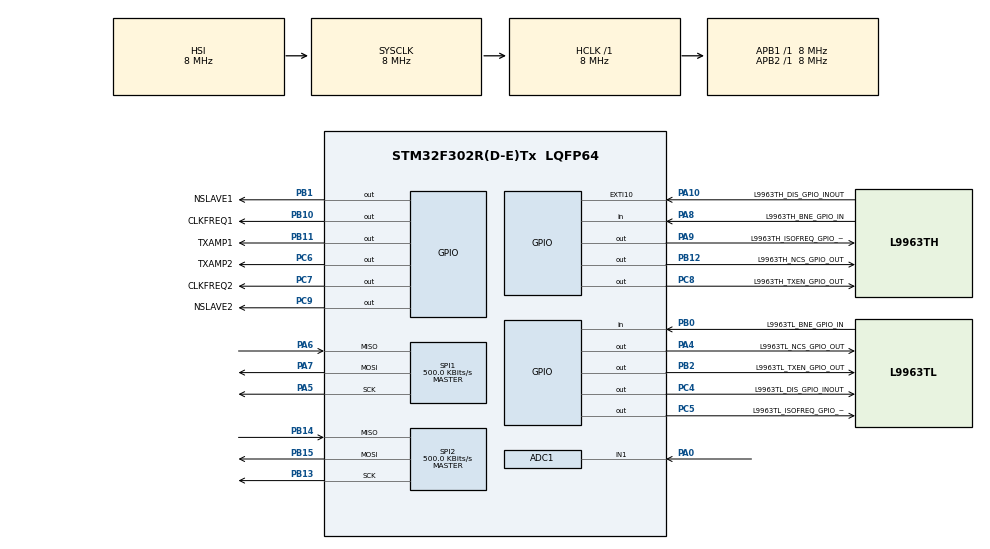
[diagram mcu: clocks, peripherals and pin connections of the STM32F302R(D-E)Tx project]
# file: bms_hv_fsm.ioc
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ADC1.Channel-0\#ChannelRegularConversion=ADC_CHANNEL_1
ADC1.NbrOfConversionFlag=1
ADC1.Offset-0\#ChannelRegularConversion=0
ADC1.OffsetNumber-0\#ChannelRegularConversion=ADC_OFFSET_NONE
ADC1.Rank-0\#ChannelRegularConversion=1
ADC1.SamplingTime-0\#ChannelRegularConversion=ADC_SAMPLETIME_1CYCLE_5
ADC1.SamplingTimeOPAMP-0\#ChannelRegularConversion=ADC_SAMPLETIME_4CYCLES_5
ADC1.master=1
Mcu.Family=STM32F3
Mcu.Name=STM32F302R(D-E)Tx
Mcu.Package=LQFP64
NVIC.PriorityGroup=NVIC_PRIORITYGROUP_4
PA0.Mode=IN1-Single-Ended
PA0.Signal=ADC1_IN1
PA10.GPIO_Label=L9963TH_DIS_GPIO_INOUT
PA10.Signal=GPXTI10
PA13.Mode=Serial_Wire
PA13.Signal=SYS_JTMS-SWDIO
PA14.Mode=Serial_Wire
PA14.Signal=SYS_JTCK-SWCLK
PA4.GPIO_Label=L9963TL_NCS_GPIO_OUT
PA4.Signal=GPIO_Output
PA5.Mode=Full_Duplex_Master
PA5.Signal=SPI1_SCK
PA6.Mode=Full_Duplex_Master
PA6.Signal=SPI1_MISO
PA7.Mode=Full_Duplex_Master
PA7.Signal=SPI1_MOSI
PA8.GPIO_Label=L9963TH_BNE_GPIO_IN
PA8.Signal=GPIO_Input
PA9.GPIO_Label=L9963TH_ISOFREQ_GPIO_OUT
PA9.Signal=GPIO_Output
PB0.GPIO_Label=L9963TL_BNE_GPIO_IN
PB0.Signal=GPIO_Input
PB1.GPIO_Label=NSLAVE1
PB1.Signal=GPIO_Output
PB10.GPIO_Label=CLKFREQ1
PB10.Signal=GPIO_Output
PB11.GPIO_Label=TXAMP1
PB11.Signal=GPIO_Output
PB12.GPIO_Label=L9963TH_NCS_GPIO_OUT
PB12.Signal=GPIO_Output
PB13.Mode=Full_Duplex_Master
PB13.Signal=SPI2_SCK
PB14.Mode=Full_Duplex_Master
PB14.Signal=SPI2_MISO
PB15.Mode=Full_Duplex_Master
PB15.Signal=SPI2_MOSI
PB2.GPIO_Label=L9963TL_TXEN_GPIO_OUT
PB2.Signal=GPIO_Output
PC4.GPIO_Label=L9963TL_DIS_GPIO_INOUT
PC4.Signal=GPIO_Output
PC5.GPIO_Label=L9963TL_ISOFREQ_GPIO_OUT
PC5.Signal=GPIO_Output
PC6.GPIO_Label=TXAMP2
PC6.Signal=GPIO_Output
PC7.GPIO_Label=CLKFREQ2
PC7.Signal=GPIO_Output
PC8.GPIO_Label=L9963TH_TXEN_GPIO_OUT
PC8.Signal=GPIO_Output
PC9.GPIO_Label=NSLAVE2
PC9.Signal=GPIO_Output
PF0-OSC_IN.Mode=HSE-External-Oscillator
PF0-OSC_IN.Signal=RCC_OSC_IN
PF1-OSC_OUT.Mode=HSE-External-Oscillator
PF1-OSC_OUT.Signal=RCC_OSC_OUT
ProjectManager.HeapSize=0x200
ProjectManager.StackSize=0x400
ProjectManager.TargetToolchain=STM32CubeIDE
RCC.AHBFreq_Value=8000000
RCC.APB1Freq_Value=8000000
RCC.APB2Freq_Value=8000000
RCC.CortexFreq_Value=8000000
RCC.HSE_VALUE=8000000
RCC.HSI_VALUE=8000000
RCC.LSE_VALUE=32768
RCC.PLLMUL=RCC_PLL_MUL4
RCC.SYSCLKFreq_VALUE=8000000
RCC.USBFreq_Value=16000000
SPI1.BaudRatePrescaler=SPI_BAUDRATEPRESCALER_16
SPI1.CalculateBaudRate=500.0 KBits/s
SPI1.DataSize=SPI_DATASIZE_8BIT
SPI1.Direction=SPI_DIRECTION_2LINES
SPI1.Mode=SPI_MODE_MASTER
SPI1.VirtualType=VM_MASTER
SPI2.BaudRatePrescaler=SPI_BAUDRATEPRESCALER_16
SPI2.CalculateBaudRate=500.0 KBits/s
SPI2.DataSize=SPI_DATASIZE_8BIT
SPI2.Direction=SPI_DIRECTION_2LINES
SPI2.Mode=SPI_MODE_MASTER
SPI2.VirtualType=VM_MASTER
board=custom

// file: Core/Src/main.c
/* USER CODE BEGIN Header */
/**
  ******************************************************************************
  * @file           : main.c
  * @brief          : Main program body
  ******************************************************************************
  * @attention
  *
  * Copyright (c) 2025 STMicroelectronics.
  * All rights reserved.
  *
  * This software is licensed under terms that can be found in the LICENSE file
  * in the root directory of this software component.
  * If no LICENSE file comes with this software, it is provided AS-IS.
  *
  ******************************************************************************
  */
/* USER CODE END Header */
#include "main.h"
#include "adc.h"
#include "spi.h"
#include "gpio.h"

/* USER CODE BEGIN Includes */
#include "L9963E.h"
#include "L9963_utils.h"
#include "bms_hv_fsm.h"
#include "fsm.h"
#include "stm32_if.h"
#include "data_reading_timebase.h"
#include "ntc.h"
#include "timebase.h"
#include "timer_utils.h"
/* USER CODE END Includes */

void SystemClock_Config(void);

/* USER CODE BEGIN 0 */
FSM_HandleTypeDef hfsm;
uint8_t volatile error_code = 30;
uint8_t charge_cmd, drive_cmd, balancing_cmd;
/* USER CODE END 0 */

int main(void)
{

  /* MCU Configuration--------------------------------------------------------*/

  /* Reset of all peripherals, Initializes the Flash interface and the Systick. */
  HAL_Init();

  /* USER CODE BEGIN Init */
    L9963E_utils_init();
    //fsm
    uint8_t n_events = 0;

    if (FSM_BMS_HV_init(&hfsm, n_events, run_callback_1, transition_callback_1) != STMLIBS_OK) {
        error_code = 2;
    }
    if (FSM_start(&hfsm) != STMLIBS_OK) {
        error_code = 2;
    }
    if (FSM_get_state(&hfsm) == FSM_BMS_HV_active_idle){
      // If first state is active idle then we good
      Warn_LED_On();
      HAL_Delay(1000);
      Warn_LED_Off();
    } else {
      Err_LED_On();
    }

    data_reading_timebase_init();
    ntc_init();

  /* USER CODE END Init */

  /* Configure the system clock */
  SystemClock_Config();

  /* Initialize all configured peripherals */
  MX_GPIO_Init();
  MX_SPI1_Init();
  MX_SPI2_Init();
  MX_ADC1_Init();
  /* USER CODE BEGIN 2 */
    Stat1_LED_On(); // Turn on the LED
  /* USER CODE END 2 */

  /* Infinite loop */
  /* USER CODE BEGIN WHILE */
    while (1) {
      data_reading_timebase_routine();
      FSM_routine(&hfsm);
    /* USER CODE END WHILE */

    }
}

void SystemClock_Config(void)
{
  RCC_OscInitTypeDef RCC_OscInitStruct = {0};
  RCC_ClkInitTypeDef RCC_ClkInitStruct = {0};
  RCC_PeriphCLKInitTypeDef PeriphClkInit = {0};

  /** Initializes the RCC Oscillators according to the specified parameters
  * in the RCC_OscInitTypeDef structure.
  */
  RCC_OscInitStruct.OscillatorType = RCC_OSCILLATORTYPE_HSI;
  RCC_OscInitStruct.HSIState = RCC_HSI_ON;
  RCC_OscInitStruct.HSICalibrationValue = RCC_HSICALIBRATION_DEFAULT;
  RCC_OscInitStruct.PLL.PLLState = RCC_PLL_ON;
  RCC_OscInitStruct.PLL.PLLSource = RCC_PLLSOURCE_HSI;
  RCC_OscInitStruct.PLL.PLLMUL = RCC_PLL_MUL4;
  RCC_OscInitStruct.PLL.PREDIV = RCC_PREDIV_DIV1;
  if (HAL_RCC_OscConfig(&RCC_OscInitStruct) != HAL_OK)
  {
    Error_Handler();
  }

  /** Initializes the CPU, AHB and APB buses clocks
  */
  RCC_ClkInitStruct.ClockType = RCC_CLOCKTYPE_HCLK|RCC_CLOCKTYPE_SYSCLK
                              |RCC_CLOCKTYPE_PCLK1|RCC_CLOCKTYPE_PCLK2;
  RCC_ClkInitStruct.SYSCLKSource = RCC_SYSCLKSOURCE_HSI;
  RCC_ClkInitStruct.AHBCLKDivider = RCC_SYSCLK_DIV1;
  RCC_ClkInitStruct.APB1CLKDivider = RCC_HCLK_DIV1;
  RCC_ClkInitStruct.APB2CLKDivider = RCC_HCLK_DIV1;

  if (HAL_RCC_ClockConfig(&RCC_ClkInitStruct, FLASH_LATENCY_0) != HAL_OK)
  {
    Error_Handler();
  }
  PeriphClkInit.PeriphClockSelection = RCC_PERIPHCLK_ADC12;
  PeriphClkInit.Adc12ClockSelection = RCC_ADC12PLLCLK_DIV1;
  if (HAL_RCCEx_PeriphCLKConfig(&PeriphClkInit) != HAL_OK)
  {
    Error_Handler();
  }
}

void Error_Handler(void)
{
    __disable_irq();
    while (1) {
    }
}
